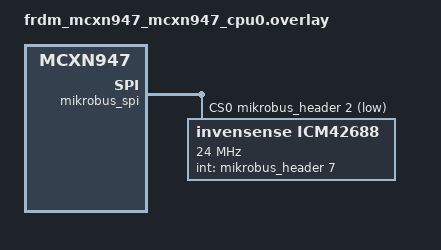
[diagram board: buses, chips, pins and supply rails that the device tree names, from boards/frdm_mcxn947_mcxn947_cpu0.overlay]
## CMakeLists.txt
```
#
# Copyright (c) 2024 TDK Invensense
#
# SPDX-License-Identifier: Apache-2.0
#

cmake_minimum_required(VERSION 3.20.0)

include(${CMAKE_CURRENT_LIST_DIR}/../../../zenbedded_common/common.cmake)


find_package(Zephyr REQUIRED HINTS $ENV{ZEPHYR_BASE})


project(6dof_motion_drdy)

FILE(GLOB app_sources src/*.cpp)
target_sources(app PRIVATE ${app_sources})
```

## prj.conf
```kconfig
#
# Copyright (c) 2024 TDK Invensense
#
# SPDX-License-Identifier: Apache-2.0
#

CONFIG_SENSOR=y
CONFIG_LOG=y
CONFIG_SENSOR_LOG_LEVEL_DBG=n

# Floating point format support
# Selecting this increases stack size requirements slightly, but increases code size significantly.
CONFIG_CBPRINTF_FP_SUPPORT=y

# nrf52dk/nrf52832 specific
CONFIG_USE_SEGGER_RTT=n

# Trigger mode: sample is using interrupt triggering
CONFIG_ICM4268X_TRIGGER_OWN_THREAD=y



CONFIG_CPP=y
CONFIG_STD_CPP17=y
CONFIG_GLIBCXX_LIBCPP=y
CONFIG_REQUIRES_FULL_LIBC=y
CONFIG_POSIX_API=y

CONFIG_ZENBEDDED_TIER_2=y
CONFIG_ZENBEDDED_TIER2_SCHEMA_PATH="interface_schema.yaml"

CONFIG_ZENBEDDED_RCL=y
CONFIG_ZENBEDDED_QOS_RELIABLE=y

CONFIG_ZENBEDDED_RCL_PUB_TOPIC="zenbedded/imu/state"
CONFIG_ZENBEDDED_RCL_SUB_TOPIC="zenbedded/imu/cmd"

CONFIG_ZENBEDDED_ZENOH_LOCATOR="127.0.0.1:7447"
CONFIG_ZENBEDDED_NODE_NAME="imu_tier2"

CONFIG_SHELL=y
CONFIG_LOG=y
CONFIG_CBPRINTF_FP_SUPPORT=y

CONFIG_TEST_RANDOM_GENERATOR=y
CONFIG_ENTROPY_GENERATOR=y

CONFIG_ZENBEDDED_USBD_PRODUCT="IMU Tier2"
```

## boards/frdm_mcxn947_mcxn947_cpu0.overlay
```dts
#include <zephyr/dt-bindings/sensor/icm42688.h>

/ {
	aliases {
		6dof-motion-drdy0 = &icm42688;
	};
};

&mikrobus_spi {
	status = "okay";
	cs-gpios = <&mikrobus_header 2 GPIO_ACTIVE_LOW>;

	icm42688: icm42688@0 {
		compatible = "invensense,icm42688", "invensense,icm4268x";
		reg = <0>;
		spi-max-frequency = <24000000>;
		int-gpios = <&mikrobus_header 7 GPIO_ACTIVE_HIGH>;

		accel-pwr-mode = <ICM42688_DT_ACCEL_LN>;
		accel-fs = <ICM42688_DT_ACCEL_FS_16>;
		accel-odr = <ICM42688_DT_ACCEL_ODR_100>;

		gyro-pwr-mode = <ICM42688_DT_GYRO_LN>;
		gyro-fs = <ICM42688_DT_GYRO_FS_2000>;
		gyro-odr = <ICM42688_DT_GYRO_ODR_100>;
	};
};
```

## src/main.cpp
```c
/*
 * Copyright (c) 2024 TDK Invensense
 *
 * SPDX-License-Identifier: Apache-2.0
 */

#include <zephyr/kernel.h>
#include <zephyr/device.h>
#include <zephyr/devicetree.h>
#include <zephyr/drivers/sensor.h>
#include <stdio.h>
#include <zenbedded_transport/generated/interface_data.h>

#include <errno.h>
#include <zephyr/logging/log.h>
#include <zephyr/net/net_if.h>
#include <zenbedded_common/network.hpp>
#include <zenbedded_rcl/zenbedded_client.hpp>

LOG_MODULE_REGISTER(imu_tier_2, LOG_LEVEL_INF);

using IMUClient = ZenbeddedClient<RawCodec<zenbedded_state_t>, RawCodec<zenbedded_command_t>>;

static struct sensor_trigger data_trigger;

/* Flag set from IMU device irq handler */
static volatile int irq_from_device;
K_SEM_DEFINE(drdy_sem, 0, 1);

/*
 * Get a device structure from a devicetree node from alias
 * "6dof_motion_drdy0".
 */
static const struct device *get_6dof_motion_device(void)
{
	const struct device *const dev = DEVICE_DT_GET(DT_ALIAS(6dof_motion_drdy0));

	if (!device_is_ready(dev)) {
		printk("\nError: Device \"%s\" is not ready; "
		       "check the driver initialization logs for errors.\n",
		       dev->name);
		return NULL;
	}

	printk("Found device \"%s\", getting sensor data\n", dev->name);
	return dev;
}


static void handle_6dof_motion_drdy(const struct device *dev, const struct sensor_trigger *trig)
{
	if (trig->type == SENSOR_TRIG_DATA_READY) {
		int rc = sensor_sample_fetch_chan(dev, trig->chan);

		if (rc < 0) {
			printf("sample fetch failed: %d\n", rc);
			printf("cancelling trigger due to failure: %d\n", rc);
			(void)sensor_trigger_set(dev, trig, NULL);
			return;
		} else if (rc == 0) {
			irq_from_device = 1;
			k_sem_give(&drdy_sem);
		}
	}
}

uint32_t loop_freq = 100;     // hz


int main(void)
{
	const struct device *dev = get_6dof_motion_device();
	struct sensor_value accel[3];
	struct sensor_value gyro[3];
	struct sensor_value temperature;



	LOG_INF("Starting IMU Tier 2 App");
	if (int net_err = zenbedded::common::init_network(); net_err != 0)
	{
		LOG_ERR("Failed to initialize network interface: %d", net_err);
		return net_err;
	}

	static IMUClient client;

	int ret = -1;

	#if defined(CONFIG_ZENBEDDED_COMMON_USB_CDC)
	if (zenbedded::common::is_usbd_ready())
	{
		char usb_loc[32];
		if (
		zenbedded::common::get_usb_peer_locator(
			ZENBEDDED_DEFAULT_LOCATOR, usb_loc, sizeof(usb_loc)) == 0)
		{
		LOG_INF("Attempting Zenoh connection over USB CDC ECM (%s)...", usb_loc);
		ret = client.init(loop_freq, usb_loc);
		if (ret != 0)
		{
			LOG_WRN("Failed to connect via USB CDC ECM (%s): %d", usb_loc, ret);
		}
		}
	}
	#endif

	#if defined(CONFIG_ZENBEDDED_COMMON_WIFI)
	if (ret != 0 && zenbedded::common::is_wifi_ready())
	{
		LOG_INF("Attempting Zenoh connection over Wi-Fi (%s)...", ZENBEDDED_DEFAULT_LOCATOR);
		ret = client.init(loop_freq, ZENBEDDED_DEFAULT_LOCATOR);
	}
	#endif

	if (ret != 0)
	{
		ret = client.init(loop_freq, ZENBEDDED_DEFAULT_LOCATOR);
	}

	if (ret != 0)
	{
		LOG_ERR("ZenbeddedClient.init failed with %d, aborting", ret);
		return ret;
	}

	if (dev == NULL) {
	return 0;
	}

	data_trigger = (struct sensor_trigger){
		.type = SENSOR_TRIG_DATA_READY,
		.chan = SENSOR_CHAN_ALL,
	};
	if (sensor_trigger_set(dev, &data_trigger, handle_6dof_motion_drdy) < 0) {
		printf("Cannot configure data trigger!!!\n");
		return 0;
	}

	k_sleep(K_MSEC(1000));


	zenbedded_state_t state = {0};
    zenbedded_command_t cmd{};


	while (1) {
		k_sem_take(&drdy_sem, K_FOREVER);
		//if (irq_from_device) {
			sensor_channel_get(dev, SENSOR_CHAN_ACCEL_XYZ, accel);
			sensor_channel_get(dev, SENSOR_CHAN_GYRO_XYZ, gyro);
			sensor_channel_get(dev, SENSOR_CHAN_DIE_TEMP, &temperature);
			state.imu_angular_velocity_x    = sensor_value_to_double(&gyro[0]);
			state.imu_angular_velocity_y    = sensor_value_to_double(&gyro[1]);
			state.imu_angular_velocity_z    = sensor_value_to_double(&gyro[2]);
			state.imu_linear_acceleration_x = sensor_value_to_double(&accel[0]);
			state.imu_linear_acceleration_y = sensor_value_to_double(&accel[1]);
			state.imu_linear_acceleration_z = sensor_value_to_double(&accel[2]);
			//k_sleep(K_MSEC(1000 / loop_freq));
			// printf("hello %.4f", state.imu_angular_velocity_x);
			client.write_state(state);
			irq_from_device = 0;
		//}
	}
	return 0;
}
```
